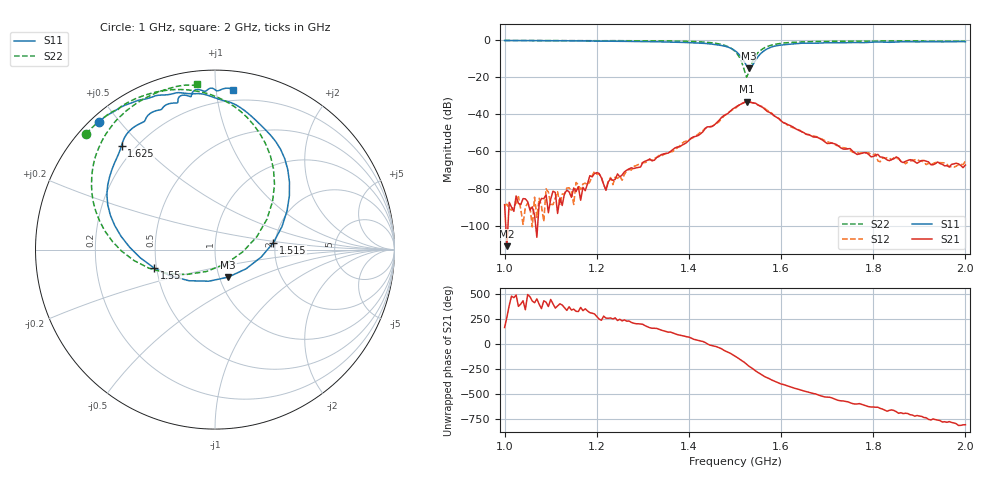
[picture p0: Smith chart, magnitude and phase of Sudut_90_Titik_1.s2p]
# Hz S RI R 50
! CMT, C1220, 16058040, 17.2.0/1
! Date: 14/08/2018 12:55:01
! Data: Format (Calibration Info)
! Freq  S11: Re/Im (F2)  S21: Re/Im (F2)  S12: Re/Im (F2)  S22: Re/Im (F2)
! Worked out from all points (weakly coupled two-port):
!   201 points, 1 GHz to 2 GHz, reference 50 ohm
!   highest |S21| = -33.17 dB at 1.525 GHz (marker M1); lowest = -111.0 dB at 1.005 GHz (marker M2)
!   lowest |S11| = -15.4 dB at 1.53 GHz (marker M3), VSWR 1.41, Z = 55.1 - j17.4 ohm
!   |S11| at or under -10 dB: 1.516 GHz to 1.547 GHz (31.41 MHz wide, 2.05 % of centre)
!   |S22| runs from -20.0 to -0.3 dB; largest |S21 - S12| = 0.00089
!   S11 on the Smith chart (normalised r, x): 1 GHz: 0.02, +0.44; 1.515 GHz: 1.96, +0.17; 1.55 GHz: 0.48, -0.11; 1.625 GHz: 0.15, +0.44; 2 GHz: 0.12, +1.11
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1e9  -0.646 0.7133  -3.46e-05 1.23e-05  -5.52e-06 -3.39e-05  -0.7192 0.6456
1.005e9  -0.6396 0.7179  -2.83e-07 -2.8e-06  2.48e-05 2.88e-05  -0.7154 0.6495
1.17e9  -0.4534 0.8216  9.23e-05 -5.52e-05  9.36e-05 -9.46e-05  -0.5768 0.7654
1.2e9  -0.4084 0.8356  8.39e-06 -0.000268  -1.28e-05 -0.000243  -0.543 0.7775
1.22e9  -0.379 0.841  -2.44e-05 -8.72e-05  -1.25e-05 -9.09e-05  -0.5309 0.7907
1.23e9  -0.3617 0.8462  -4.53e-05 -0.000179  -9.12e-05 -0.000176  -0.5199 0.7999
1.235e9  -0.3532 0.849  -6.71e-05 -0.000151  -3.88e-05 -0.000121  -0.5139 0.804
1.24e9  -0.3447 0.852  -3.99e-05 -0.000172  -0.000132 -0.000154  -0.5079 0.8074
1.335e9  -0.1734 0.8711  -0.000583 0.000437  -0.000566 0.000535  -0.36 0.8696
1.45e9  0.2051 0.7411  0.00436 -0.00162  0.00435 -0.00192  0.0455 0.8337
1.5e9  0.4146 0.3006  -0.00873 -0.0123  -0.00821 -0.0116  0.3316 0.3633
1.515e9  0.3256 0.0391  -0.019 -0.00296  -0.0191 -0.00352  0.2336 0.0728
1.525e9  0.1734 -0.1069  -0.0198 0.00942  -0.0201 0.00938  0.0622 -0.0781
1.53e9  0.0741 -0.1532  -0.0151 0.015  -0.0152 0.0151  -0.0474 -0.1219
1.55e9  -0.3402 -0.1019  0.00593 0.0167  0.00524 0.0169  -0.4518 -0.0605
1.58e9  -0.5978 0.2505  0.0102 -0.000831  0.0105 -0.00128  -0.6783 0.2657
1.625e9  -0.5207 0.5799  0.000764 -0.00456  0.000865 -0.00429  -0.6496 0.5626
1.67e9  -0.4023 0.7088  -0.00184 -0.00159  -0.00193 -0.00172  -0.5661 0.701
1.815e9  -0.1691 0.8606  0.000214 0.000673  0.000258 0.000459  -0.3423 0.8666
1.835e9  -0.1347 0.8516  0.00034 0.000446  0.000372 0.000539  -0.3155 0.8778
1.975e9  0.0622 0.8992  0.000131 -0.000441  8.07e-05 -0.000367  -0.1251 0.9155
2e9  0.0993 0.8902  -7.51e-06 -0.000428  -4.06e-05 -0.000546  -0.0978 0.9222
